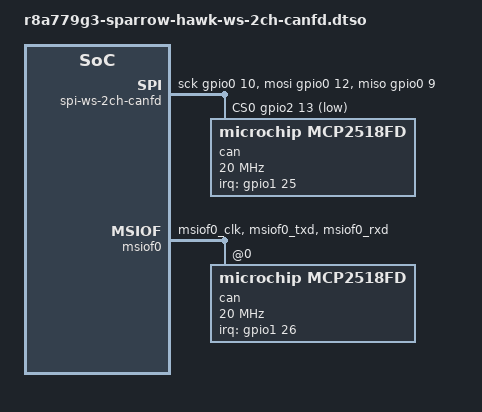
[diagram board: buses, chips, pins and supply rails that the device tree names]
// SPDX-License-Identifier: (GPL-2.0-only OR BSD-2-Clause)
/*
 * Device Tree Overlay for the Waveshare 2-Channel Isolated CAN FD HAT
 * on connector CN7 on R-Car V4H ES3.0 Sparrow Hawk board
 *
 * Copyright (C) 2026 Marek Vasut <marek.vasut+renesas@mailbox.org>
 *
 * Example usage:
 * - Connect HAT signals to Sparrow Hawk board CAN BUS connector CONN2:
 *   HAT CAN_0 H -- CONN2 pin 6
 *   HAT CAN_0 L -- CONN2 pin 2
 *   HAT CAN_1 H -- CONN2 pin 5
 *   HAT CAN_1 L -- CONN2 pin 1
 *
 * - Determine which interface is which:
 *   $ ip -d link show
 *   2: can0: <NOARP,ECHO> ...
 *      ...
 *        clock 40000000 ... e6660000.can <------ Native Renesas CANFD
 *   3: can1: <NOARP,ECHO> ...
 *      ...
 *   4: can2: <NOARP,ECHO> ...
 *      ...
 *        clock 40000000 ... spi1.0 <------------ SPI CANFD on this HAT
 *   5: can3: <NOARP,ECHO> ...
 *      ...
 *
 * - Bring connected interfaces up:
 *   # CAN_0 link
 *   $ ip link set can0 up type can bitrate 125000 dbitrate 250000 fd on
 *   $ ip link set can3 up type can bitrate 125000 dbitrate 250000 fd on
 *
 *   # CAN_1 link
 *   $ ip link set can1 up type can bitrate 125000 dbitrate 250000 fd on
 *   $ ip link set can2 up type can bitrate 125000 dbitrate 250000 fd on
 *
 * - Perform CAN test, run each of the pair commands in separate terminals:
 *   # CAN_0 link
 *   $ canfdtest -v can0
 *   $ canfdtest -g -v can3
 *
 *   # CAN_1 link
 *   $ canfdtest -v can1
 *   $ canfdtest -g -v can2
 */

/dts-v1/;
/plugin/;

#include <dt-bindings/gpio/gpio.h>
#include <dt-bindings/interrupt-controller/irq.h>

/*
 * PWM1 uses PWM1_B pin configuration for pin GP2_13. This conflicts
 * with SPI_1 CE_1 signal which is also on pin GP2_13. Disable PWM1
 * in case this hat is in use.
 *
 * In case of a dynamic overlay, pwm1 must be disabled before SPI_1
 * is probed. Otherwise the latter will fail with -EBUSY due to the
 * conflicting pin being still in use. Hence place pwm1 node here.
 */
&pwm1 {
	status = "disabled";
};

&{/} {
	/* Fixed clock dedicated to SPI CAN on 2-CH CAN FD HAT */
	clk_can0: clk-ws-2ch-canfd0 {
		compatible = "fixed-clock";
		#clock-cells = <0>;
		clock-frequency = <40000000>;
	};

	clk_can1: clk-ws-2ch-canfd1 {
		compatible = "fixed-clock";
		#clock-cells = <0>;
		clock-frequency = <40000000>;
	};

	/*
	 * SPI_1 is operated as GPIO SPI, because MSIOF5 can not be
	 * muxed on the pins allocated for SPI_1 on this CANFD HAT.
	 */
	spi-ws-2ch-canfd {	/* SPI_1 */
		compatible = "spi-gpio";
		#address-cells = <1>;
		#size-cells = <0>;
		sck-gpios = <&gpio0 10 0>;		/* CN7 pin 40 */
		miso-gpios = <&gpio0 9 0>;		/* CN7 pin 35 */
		mosi-gpios = <&gpio0 12 0>;		/* CN7 pin 38 */
		cs-gpios = <&gpio2 13 GPIO_ACTIVE_LOW>;	/* CN7 pin 12 */
		num-chipselects = <1>;

		can@0 {
			compatible = "microchip,mcp2518fd";
			reg = <0>;
			clocks = <&clk_can1>;
			/* CN7 pin 18 */
			interrupts-extended = <&gpio1 25 IRQ_TYPE_LEVEL_LOW>;
			spi-max-frequency = <20000000>;
		};
	};
};

&msiof0 {	/* SPI_0 */
	#address-cells = <1>;
	#size-cells = <0>;
	pinctrl-0 = <&msiof0_pins>;
	pinctrl-names = "default";
	status = "okay";

	/*
	 * Native MSIOF chipselect does not work with MCP2518FD
	 * because MCP251xFD driver needs to keep the chipselect
	 * line asserted between transfers. This requirement is
	 * fulfilled only by using GPIO chipselect.
	 */
	cs-gpios = <&gpio1 8 GPIO_ACTIVE_LOW>;

	can@0 {
		compatible = "microchip,mcp2518fd";
		reg = <0>;
		clocks = <&clk_can0>;
		/* CN7 pin 22 */
		interrupts-extended = <&gpio1 26 IRQ_TYPE_LEVEL_LOW>;
		spi-max-frequency = <20000000>;
	};
};

&pfc {
	msiof0_pins: msiof0 {	/* SPI_0 */
		groups = "msiof0_clk", "msiof0_txd", "msiof0_rxd";
		function = "msiof0";
	};
};
